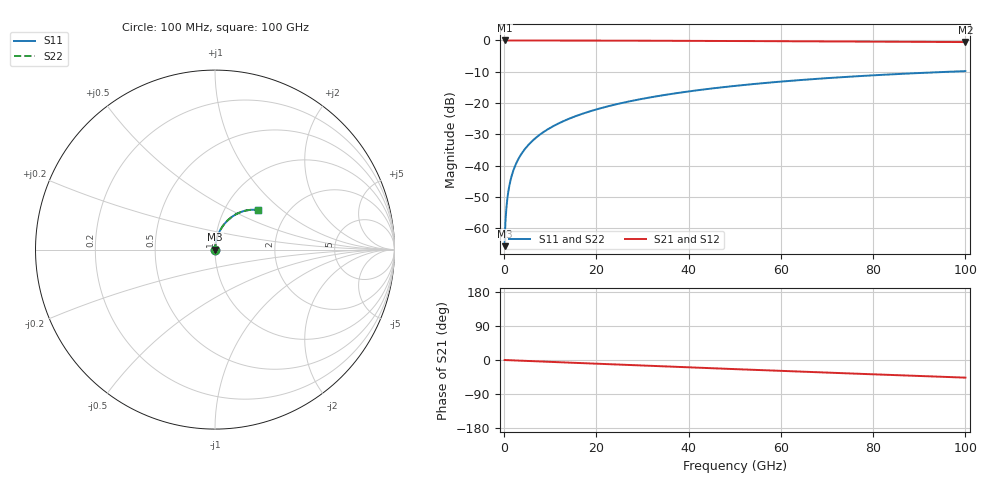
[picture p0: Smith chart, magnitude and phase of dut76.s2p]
! Touchstone file exported from HFSS 2026.1.0
!  File:  C:/ffzhzh/LocalFiles/Ansys_Project_Files/temp_train_TSV_76_1783505356_31944.aedt
!  Generated:  06:10:37 PM Jul  8, 2026
!  Design:  TSV
!  Project:  temp_train_TSV_76_1783505356_31944
! Variables:
!  h_bsmrdl = 2um
!  h_ox = 20um
!  h_rdl = 5um
!  h_sub = 82.94um
!  h_tmrdl = 5um
!  h_tsv = 82.94um
!  h_via = 3um
!  l_bsmrdl = 300um
!  l_sub = 412.46um
!  l_tmrdl = 200um
!  m_sub = 200um
!  pitch = 52.21um
!  r_tsv = 6.23um
!  s_tmrdl = 10um
!  w_bsmrdl = 18um
!  w_sub = 500um
!  w_tmrdl = 12um
!  x_tsv_center1 = 206um
!  x_tsv_center2 = 524um
!  x_tsv_center3 = 736um
!  x_tsv_center4 = 1054um
!  x_tsv_center5 = 1266um
!  x_tsv_center6 = 1584um
# GHz S MA R 50.000000
! Terminal data exported
! Port[1] = TSV1_1_T1
! Port[2] = TSV1_1_T2
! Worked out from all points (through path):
!   1000 points, 100 MHz to 100 GHz, reference 50 ohm
!   highest |S21| = 0.00 dB at 100 MHz (marker M1); lowest = -0.5 dB at 100 GHz (marker M2)
!   group delay of S21, straight-line fit = 1.29 ps
!   lowest |S11| = -65.6 dB at 100 MHz (marker M3), VSWR 1.00, Z = 50 + j0.0443 ohm
!   |S11| at or under -10 dB: start of sweep to 96.27 GHz
!   |S22| runs from -65.6 to -9.8 dB; largest |S21 - S12| = 4e-15
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0.1  0.0005224 57.9  0.9997 -0.1  0.9997 -0.1  0.0005224 57.9
! Gamma 0 0 0 0
! Port Impedance 50 0 50 0
0.4  0.001761 79.4  0.9997 -0.2  0.9997 -0.2  0.001761 79.4
0.7  0.003021 83.0  0.9996 -0.4  0.9996 -0.4  0.003021 83.0
0.8  0.003441 83.5  0.9996 -0.4  0.9996 -0.4  0.003441 83.5
1  0.00428 84.3  0.9996 -0.5  0.9996 -0.5  0.00428 84.3
1.3  0.005534 84.9  0.9996 -0.7  0.9996 -0.7  0.005534 84.9
1.7  0.007194 85.2  0.9995 -0.9  0.9995 -0.9  0.007194 85.2
2.3  0.009656 85.3  0.9994 -1.2  0.9994 -1.2  0.009656 85.3
3  0.0125 85.3  0.9992 -1.5  0.9992 -1.5  0.0125 85.3
3.8  0.01571 85.2  0.9991 -1.9  0.9991 -1.9  0.01571 85.2
4.8  0.01971 85.0  0.9989 -2.4  0.9989 -2.4  0.01971 85.0
6  0.0245 84.7  0.9987 -3.0  0.9987 -3.0  0.0245 84.7
8.8  0.03562 83.7  0.9982 -4.3  0.9982 -4.3  0.03562 83.7
12.4  0.04983 82.2  0.9973 -6.1  0.9973 -6.1  0.04983 82.2
16.8  0.06701 80.3  0.9961 -8.2  0.9961 -8.2  0.06701 80.3
24.2  0.09547 77.0  0.9934 -11.8  0.9934 -11.8  0.09547 77.0
33.4  0.1299 72.8  0.9892 -16.2  0.9892 -16.2  0.1299 72.8
41.2  0.1579 69.2  0.9849 -19.9  0.9849 -19.9  0.1579 69.2
50.1  0.1885 65.1  0.9793 -24.1  0.9793 -24.1  0.1885 65.1
66.7  0.2409 57.5  0.9674 -31.8  0.9674 -31.8  0.2409 57.5
83.4  0.2865 50.1  0.9547 -39.3  0.9547 -39.3  0.2865 50.1
100  0.3239 42.9  0.9424 -46.5  0.9424 -46.5  0.3239 42.9
